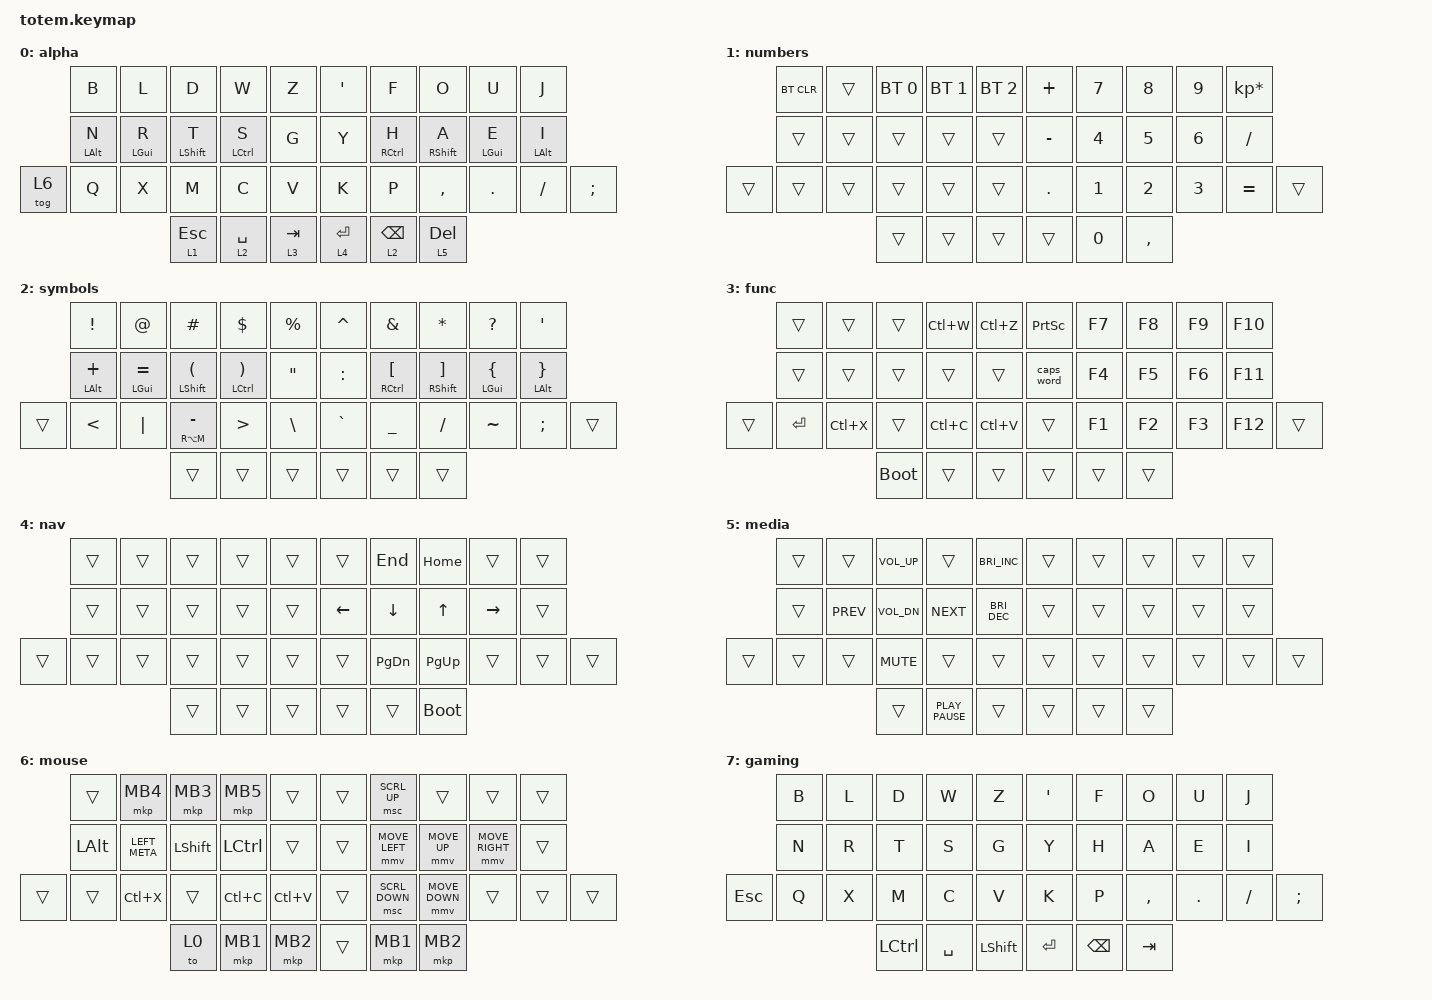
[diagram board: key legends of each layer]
//
//                                                        ▀▀▀▀▀     ▀▀▀▀▀          ▀▀█▀▀
//                                                        ▄▀▀▀▄  ▄  ▄▀▀▀▄  ▄  ▄▀▀▀▄  █  ▄▀▀▀▄
//                                                        █   █  █  █   █  █  █   █  █  █   █
//                                                         ▀▀▀   █   ▀▀▀   █   ▀▀▀   ▀   ▀▀▀
//                                                               █      ▄▄▄█▄▄▄    █   █  
//                                                               ▀      █  █  █     █▄█
//                                                             ▀▀▀▀▀    █  █  █      ▀
//                                                                      ▀  ▀  ▀
//
// ▄▄▄▄▄▄▄▄▄▄▄▄▄▄▄▄▄▄▄▄▄▄▄▄▄▄▄▄▄▄▄▄▄▄▄▄▄▄▄▄▄▄▄▄▄▄▄▄▄▄▄▄▄▄▄▄▄▄▄▄▄▄▄▄▄▄▄▄▄▄▄▄▄▄▄▄▄▄▄▄▄▄▄▄▄▄▄▄▄▄▄▄▄▄▄▄▄▄▄▄▄▄▄▄▄▄▄▄▄▄▄▄▄▄▄▄▄▄▄▄▄▄▄▄▄▄▄▄▄▄▄▄▄▄▄▄▄▄▄▄▄▄▄▄▄▄▄▄▄

#include <behaviors.dtsi>
#include <dt-bindings/zmk/bt.h>
#include <dt-bindings/zmk/keys.h>
#include <dt-bindings/zmk/pointing.h>

&caps_word { continue-list = <UNDERSCORE BACKSPACE DELETE SEMICOLON COMMA DOT BACKSLASH LEFT_BRACKET SINGLE_QUOTE APOSTROPHE DOUBLE_QUOTES>; };

/ {
    behaviors {
        hrm: hrm {
            compatible = "zmk,behavior-hold-tap";
            label = "HRM";
            bindings = <&kp>, <&kp>;

            #binding-cells = <2>;
            tapping-term-ms = <170>;
            flavor = "balanced";
            quick-tap-ms = <230>;
            hold-trigger-on-release;
            require-prior-idle-ms = <80>;
        };

        hold_tap: hold_tap {
            compatible = "zmk,behavior-hold-tap";
            label = "HOLD_TAP";
            bindings = <&mo>, <&kp>;

            #binding-cells = <2>;
            tapping-term-ms = <170>;
            flavor = "balanced";
            quick-tap-ms = <230>;
            hold-trigger-on-release;
            require-prior-idle-ms = <80>;
        };

        hrmp: hrmp {
            compatible = "zmk,behavior-hold-tap";
            label = "HRMP";
            bindings = <&kp>, <&kp>;

            #binding-cells = <2>;
            tapping-term-ms = <200>;
            quick-tap-ms = <230>;
            require-prior-idle-ms = <80>;
            flavor = "balanced";
            hold-trigger-on-release;
        };
    };

    combos {
        compatible = "zmk,combos";

        ua_yi {
            bindings = <&kp RIGHT_BRACKET>;
            key-positions = <2 1>;
        };

        ua_ap {
            bindings = <&kp GRAVE>;
            key-positions = <22 23>;
        };

        ua_kh {
            bindings = <&kp LEFT_BRACKET>;
            key-positions = <8 7>;
        };

        ua_ye {
            bindings = <&kp SEMICOLON>;
            key-positions = <28 29>;
        };

        ua_g {
            bindings = <&kp BACKSLASH>;
            key-positions = <7 6>;
        };

        rgui {
            bindings = <&kp CAPS>;
            key-positions = <16 18 17>;
        };

        rgui2 {
            bindings = <&kp CAPS>;
            key-positions = <11 12 13>;
            layers = <0 1 2 3 4 5 6>;
        };

        tog7 {
            bindings = <&tog 7>;
            key-positions = <34 35>;
        };
    };

    keymap {
        compatible = "zmk,keymap";

        alpha {
            display-name = "alpha";

            // ------------------------------------------------------------------------------
            //       |  B  |  L  |  D  |  W  |  Z  |   |  '  |  F   |  O  |  U  |  J  |
            //       |  N  |  R  |  T  |  S  |  G  |   |  Y  |  H   |  A  |  E  |  I  |
            // |  CW |  Q  |  X  |  M  |  C  |  V  |   |  K  |  P   |  ,  |  .  |  /  |  ;  |
            //                   | ESC | SPC | TAB |   | ENT | BSP  | DEL |

            bindings = <
        &kp B             &kp L        &kp D               &kp W              &kp Z              &kp SQT            &kp F                  &kp O               &kp U            &kp J
        &hrmp LEFT_ALT N  &hrm LGUI R  &hrm LEFT_SHIFT T   &hrm LCTRL S       &kp G              &kp Y              &hrm RCTRL H           &hrm RIGHT_SHIFT A  &hrm LEFT_GUI E  &hrmp LEFT_ALT I
&tog 6  &kp Q             &kp X        &kp M               &kp C              &kp V              &kp K              &kp P                  &kp COMMA           &kp DOT          &kp FSLH          &kp SEMI
                                       &hold_tap 1 ESCAPE  &hold_tap 2 SPACE  &hold_tap 3 TAB    &hold_tap 4 ENTER  &hold_tap 2 BACKSPACE  &hold_tap 5 DELETE
            >;
        };

        num_bt {
            display-name = "numbers";

            // -----------------------------------------------------------------------------
            //       | BTC |     | BT0 | BT1 | BT2 |   |  +  |  7  |  8  |  9  |  *  |
            //       |     |     |     |     |     |   |  -  |  4  |  5  |  6  |  /  |
            // |     |     |     |     |     |     |   |  .  |  1  |  2  |  3  |  =  |     |
            //                   |     |     |     |   |     |  0  |  ,  |

            bindings = <
        &bt BT_CLR  &trans  &bt BT_SEL 0  &bt BT_SEL 1  &bt BT_SEL 2    &kp PLUS   &kp N7        &kp N8        &kp N9  &kp KP_MULTIPLY
        &trans      &trans  &trans        &trans        &trans          &kp MINUS  &kp N4        &kp N5        &kp N6  &kp FSLH
&trans  &trans      &trans  &trans        &trans        &trans          &kp DOT    &kp NUMBER_1  &kp NUMBER_2  &kp N3  &kp EQUAL        &trans
                            &trans        &trans        &trans          &trans     &kp N0        &kp COMMA
            >;
        };

        symb {
            display-name = "symbols";

            // -----------------------------------------------------------------------------
            //       |  !  |  @  |  #  |  $  |  %  |   |  ^  |  &  |  *  |  ?  |  '  |
            //       |  +  |  =  |  (  |  )  |  "  |   |  :  |  [  |  ]  |  {  |  }  |
            // |     |  <  |  |  |  -  |  >  |  \  |   |  `  |  _  |  /  |  ~  |  ;  |     |
            //                   |     |     |     |   |     |     |     |

            bindings = <
        &kp EXCL             &kp AT               &kp HASH                          &kp DLLR                      &kp PRCNT            &kp CARET  &kp AMPERSAND            &kp ASTERISK                    &kp QUESTION              &kp SQT
        &hrmp LEFT_ALT PLUS  &hrm LEFT_GUI EQUAL  &hrm LEFT_SHIFT LEFT_PARENTHESIS  &hrm LCTRL RIGHT_PARENTHESIS  &kp DOUBLE_QUOTES    &kp COLON  &hrm RCTRL LEFT_BRACKET  &hrm RIGHT_SHIFT RIGHT_BRACKET  &hrm LEFT_GUI LEFT_BRACE  &hrmp LEFT_ALT RIGHT_BRACE
&trans  &kp LESS_THAN        &kp PIPE             &mt RA(M) MINUS                   &kp GREATER_THAN              &kp BSLH             &kp GRAVE  &kp UNDERSCORE           &kp FSLH                        &kp TILDE                 &kp SEMI                    &trans
                                                  &trans                            &trans                        &trans               &trans     &trans                   &trans
            >;
        };

        func {
            display-name = "func";

            // -----------------------------------------------------------------------------
            //       |     |     |     |  ^W |  ^Z |   | PSCR|  F7 |  F8 |  F9 |  F10|
            //       |     |     |     |     |     |   |  CW |  F4 |  F5 |  F6 |  F11|
            // |     | ENT |  ^X |     |  ^C |  ^V |   |     |  F1 |  F2 |  F3 |  F12|     |
            //                   |BOOTL|     |     |   |     |     |     |

            bindings = <
        &trans     &trans     &trans       &kp LC(W)  &kp LC(Z)    &kp PRINTSCREEN  &kp F7  &kp F8  &kp F9  &kp F10
        &trans     &trans     &trans       &trans     &trans       &caps_word       &kp F4  &kp F5  &kp F6  &kp F11
&trans  &kp ENTER  &kp LC(X)  &trans       &kp LC(C)  &kp LC(V)    &trans           &kp F1  &kp F2  &kp F3  &kp F12  &trans
                              &bootloader  &trans     &trans       &trans           &trans  &trans
            >;
        };

        nav {
            display-name = "nav";

            // -----------------------------------------------------------------------------
            //       |     |     |     |     |     |   |     | END | HOME|     |     |
            //       |     |     |     |     |     |   | LEFT| DOWN|  UP |RIGHT|     |
            // |     |     |     |     |     |     |   |     | PGDN| PGUP|     |     |     |
            //                   |     |     |     |   |     |     |BOOTL|

            bindings = <
        &trans  &trans  &trans  &trans  &trans    &trans    &kp END    &kp HOME     &trans     &trans
        &trans  &trans  &trans  &trans  &trans    &kp LEFT  &kp DOWN   &kp UP       &kp RIGHT  &trans
&trans  &trans  &trans  &trans  &trans  &trans    &trans    &kp PG_DN  &kp PG_UP    &trans     &trans  &trans
                        &trans  &trans  &trans    &trans    &trans     &bootloader
            >;
        };

        media {
            display-name = "media";

            // -----------------------------------------------------------------------------
            //       |     |     |VOLUP|     |     |   |     |     |     |     |     |
            //       |     | PREV|VOLDN| NEXT|     |   |     |     |     |     |     |
            // |     |     |     | MUTE|     |     |   |     |     |     |     |     |     |
            //                   |     |PL/PS|     |   |     |     |     |

            bindings = <
        &trans  &trans      &kp C_VOLUME_UP  &trans            &kp C_BRI_INC    &trans  &trans  &trans  &trans  &trans
        &trans  &kp K_PREV  &kp C_VOL_DN     &kp K_NEXT        &kp C_BRI_DEC    &trans  &trans  &trans  &trans  &trans
&trans  &trans  &trans      &kp K_MUTE       &trans            &trans           &trans  &trans  &trans  &trans  &trans  &trans
                            &trans           &kp K_PLAY_PAUSE  &trans           &trans  &trans  &trans
            >;
        };

        mouse {
            bindings = <
        &trans        &mkp MB4       &mkp MB3    &mkp MB5   &trans       &trans  &msc SCRL_UP    &trans          &trans           &trans
        &kp LEFT_ALT  &kp LEFT_META  &kp LSHIFT  &kp LCTRL  &trans       &trans  &mmv MOVE_LEFT  &mmv MOVE_UP    &mmv MOVE_RIGHT  &trans
&trans  &trans        &kp LC(X)      &trans      &kp LC(C)  &kp LC(V)    &trans  &msc SCRL_DOWN  &mmv MOVE_DOWN  &trans           &trans  &trans
                                     &to 0       &mkp MB1   &mkp MB2     &trans  &mkp MB1        &mkp MB2
            >;

            label = "mouse";
        };

        gaming {
            bindings = <
         &kp B  &kp L  &kp D      &kp W      &kp Z        &kp SQT    &kp F     &kp O      &kp U    &kp J
         &kp N  &kp R  &kp T      &kp S      &kp G        &kp Y      &kp H     &kp A      &kp E    &kp I
&kp ESC  &kp Q  &kp X  &kp M      &kp C      &kp V        &kp K      &kp P     &kp COMMA  &kp DOT  &kp FSLH  &kp SEMI
                       &kp LCTRL  &kp SPACE  &kp LSHFT    &kp ENTER  &kp BSPC  &kp TAB
            >;

            label = "gaming";
        };
    };
};
